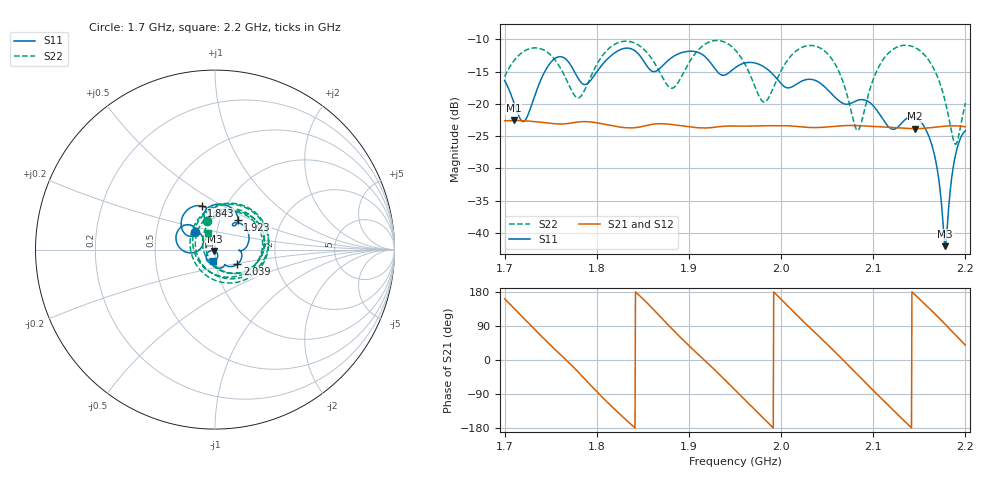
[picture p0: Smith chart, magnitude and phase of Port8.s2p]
# Hz S RI R 50
! CMT, CMT808U, 21440046, 21.4.3/4
! Date: 6/12/2026 9:31:27 AM
! Data: Format (Calibration Info)
! Freq	S11:Re/Im(F2)	S41:Re/Im(F2)	S14:Re/Im(F2)	S44:Re/Im(F2)
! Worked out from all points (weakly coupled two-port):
!   1001 points, 1.7 GHz to 2.2 GHz, reference 50 ohm
!   highest |S21| = -22.59 dB at 1.71 GHz (marker M1); lowest = -23.9 dB at 2.146 GHz (marker M2)
!   lowest |S11| = -42.1 dB at 2.178 GHz (marker M3), VSWR 1.02, Z = 49.6 - j0.7 ohm
!   |S11| at or under -10 dB: start of sweep to end of sweep
!   |S22| runs from -26.3 to -10.2 dB; largest |S21 - S12| = 0.0013
!   S11 on the Smith chart (normalised r, x): 1.7 GHz: 0.78, +0.16; 1.843 GHz: 0.77, +0.40; 1.923 GHz: 1.21, +0.42; 2.039 GHz: 1.27, -0.21; 2.2 GHz: 0.97, -0.12
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1.7e9  -0.1133 0.1008  -0.0701 0.0232  -0.0701 0.0221  -0.0427 0.1569
1.71e9  -0.071 0.074  -0.0542 0.0507  -0.0547 0.0497  0.0485 0.2098
1.722e9  -0.0721 0.0173  -0.0215 0.0705  -0.0225 0.0699  0.1743 0.1903
1.742e9  -0.1686 -0.0111  0.0382 0.0606  0.0371 0.0609  0.2623 0.000338
1.7835e9  -0.1073 0.0976  0.0548 -0.0477  0.0554 -0.0466  -0.1154 -0.0126
1.8125e9  -0.1871 0.1266  -0.0277 -0.0626  -0.0266 -0.0628  0.0824 0.2527
1.8425e9  -0.0742 0.2433  -0.0654 0.0017  -0.0651 0.000713  0.2919 -0.0207
1.867e9  -0.0552 0.1758  -0.0342 0.0611  -0.0351 0.0603  0.0309 -0.1805
1.891e9  -0.0117 0.2476  0.0345 0.0582  0.0334 0.0585  -0.1332 0.085
1.9235e9  0.1274 0.1644  0.0629 -0.0176  0.063 -0.0165  0.2196 0.2106
1.95e9  0.1158 0.1507  0.0124 -0.0661  0.0135 -0.0657  0.2455 -0.0934
1.982e9  0.1872 0.044  -0.0618 -0.0273  -0.0611 -0.0283  -0.0969 -0.0354
2.009e9  0.1331 -0.00231  -0.0502 0.0451  -0.0508 0.0441  0.0423 0.2237
2.0335e9  0.1413 -0.0623  0.0114 0.0644  0.0102 0.0645  0.2651 0.0994
2.0395e9  0.1251 -0.0814  0.0265 0.0598  0.0254 0.0602  0.2747 0.035
2.083e9  0.0467 -0.0956  0.0527 -0.0426  0.0533 -0.0416  -0.0576 -0.0235
2.117e9  -0.00911 -0.0652  -0.034 -0.0563  -0.033 -0.0568  0.1283 0.2135
2.1455e9  -0.0358 -0.0699  -0.0635 0.00914  -0.0636 0.00799  0.2725 0.00217
2.165e9  -0.0406 -0.0172  -0.0389 0.0528  -0.0398 0.0521  0.1413 -0.1291
2.178e9  -0.0035 -0.00705  -0.00531 0.0669  -0.00651 0.0667  0.0161 -0.1039
2.189e9  0.0153 -0.0362  0.0266 0.062  0.0255 0.0624  -0.0465 -0.0143
2.2e9  -0.0096 -0.0611  0.0516 0.0418  0.0508 0.0427  -0.0366 0.0947
